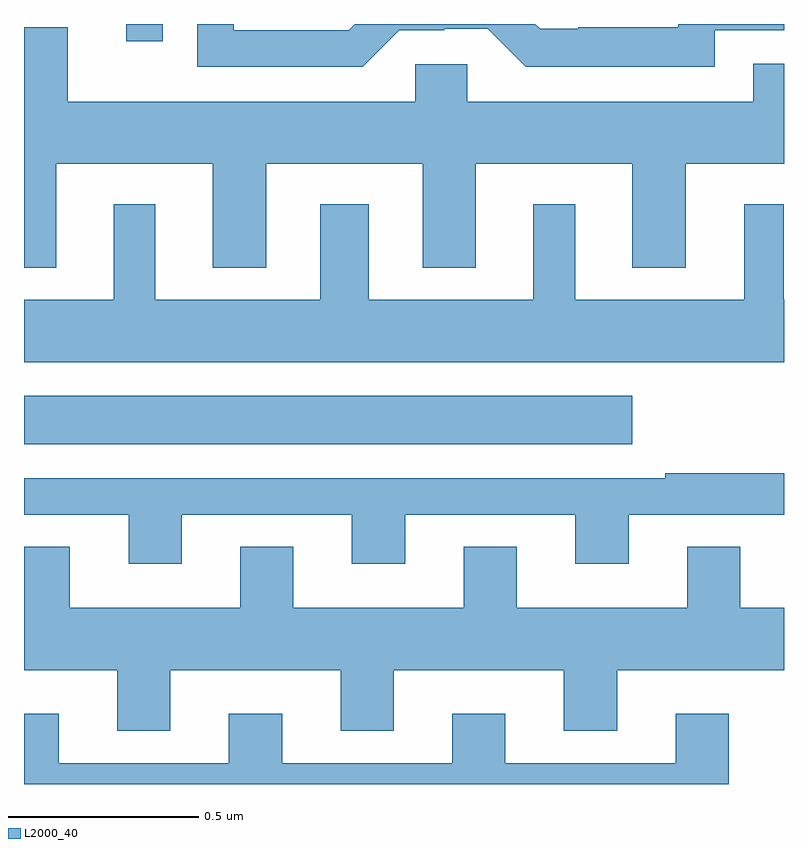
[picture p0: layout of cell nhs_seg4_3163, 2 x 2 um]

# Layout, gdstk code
import gdstk
lib = gdstk.Library(unit=1e-6, precision=1e-09)
def R(c, l, rs):  # rectangles x0, y0, x1, y1
    for r in rs: c.add(gdstk.rectangle(r[:2], r[2:], *l))
def P(c, l, *ps):  # polygons
    for p in ps: c.add(gdstk.Polygon(p, *l))
L2000_40 = (2000, 40)

nhs_seg4_3163 = lib.new_cell('nhs_seg4_3163')
R(nhs_seg4_3163, L2000_40, [(150,750.794,151.6,750.922), (150.269,751.854,150.365,751.9)])
P(nhs_seg4_3163, L2000_40, [(151.818,751.884),(152,751.884),(152,751.9),(151.722,751.9),(151.722,751.891),(151.459,751.891),(151.459,751.887),(151.359,751.887),(151.346,751.9),(150.871,751.9),(150.855,751.884),(150.552,751.884),(150.552,751.9),(150.456,751.9),(150.456,751.788),(150.891,751.788),(150.987,751.884),(151.106,751.884),(151.106,751.887),(151.221,751.887),(151.321,751.787),(151.818,751.787)],
  [(150.085,751.532),(150.497,751.532),(150.497,751.259),(150.637,751.259),(150.637,751.532),(151.049,751.532),(151.049,751.259),(151.189,751.259),(151.189,751.532),(151.601,751.532),(151.601,751.259),(151.741,751.259),(151.741,751.532),(152,751.532),(152,751.795),(151.919,751.795),(151.919,751.696),(151.167,751.696),(151.167,751.794),(151.029,751.794),(151.029,751.696),(150.115,751.696),(150.115,751.891),(150,751.891),(150,751.259),(150.085,751.259)],
  [(152,751.174),(151.999,751.174),(151.999,751.426),(151.895,751.426),(151.895,751.174),(151.45,751.174),(151.45,751.426),(151.34,751.426),(151.34,751.174),(150.907,751.174),(150.907,751.426),(150.779,751.426),(150.779,751.174),(150.346,751.174),(150.346,751.426),(150.236,751.426),(150.236,751.174),(150,751.174),(150,751.01),(152,751.01)],
  [(150.415,750.609),(150.863,750.609),(150.863,750.48),(151.003,750.48),(151.003,750.609),(151.451,750.609),(151.451,750.48),(151.591,750.48),(151.591,750.609),(152,750.609),(152,750.718),(151.687,750.718),(151.687,750.705),(150,750.705),(150,750.609),(150.275,750.609),(150.275,750.48),(150.415,750.48)],
  [(150.385,750.2),(150.833,750.2),(150.833,750.04),(150.973,750.04),(150.973,750.2),(151.421,750.2),(151.421,750.04),(151.561,750.04),(151.561,750.2),(152,750.2),(152,750.364),(151.885,750.364),(151.885,750.524),(151.745,750.524),(151.745,750.364),(151.297,750.364),(151.297,750.524),(151.157,750.524),(151.157,750.364),(150.709,750.364),(150.709,750.524),(150.569,750.524),(150.569,750.364),(150.121,750.364),(150.121,750.524),(150,750.524),(150,750.2),(150.245,750.2),(150.245,750.04),(150.385,750.04)],
  [(151.855,750.085),(151.715,750.085),(151.715,749.955),(151.267,749.955),(151.267,750.085),(151.127,750.085),(151.127,749.955),(150.679,749.955),(150.679,750.085),(150.539,750.085),(150.539,749.955),(150.091,749.955),(150.091,750.085),(150,750.085),(150,749.9),(151.855,749.9)])

lib.write_gds('nhs_seg4_3163.gds')
